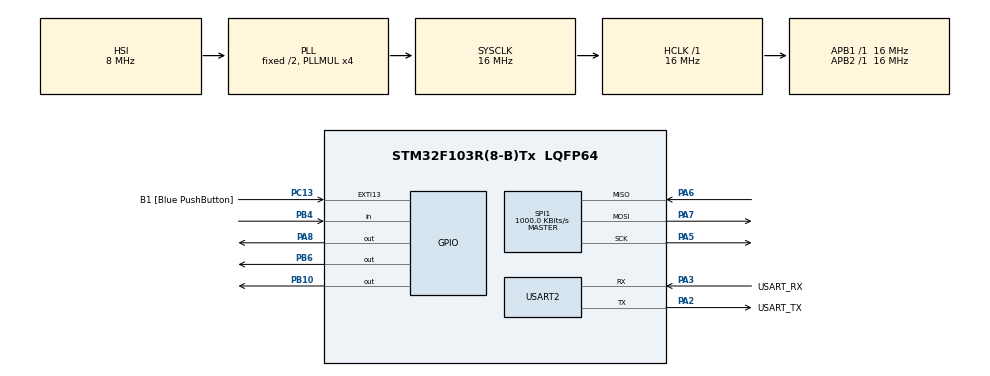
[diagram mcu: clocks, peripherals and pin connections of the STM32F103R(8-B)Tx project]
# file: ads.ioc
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Mcu.Family=STM32F1
Mcu.Name=STM32F103R(8-B)Tx
Mcu.Package=LQFP64
NVIC.EXTI15_10_IRQn=true\:0\:0\:false\:false\:true\:true\:true\:true
NVIC.PriorityGroup=NVIC_PRIORITYGROUP_4
NVIC.SPI1_IRQn=true\:0\:0\:false\:false\:true\:true\:true\:true
NVIC.USART2_IRQn=true\:0\:0\:false\:false\:true\:true\:true\:true
PA13.GPIO_Label=TMS
PA13.Mode=Serial_Wire
PA13.Signal=SYS_JTMS-SWDIO
PA14.GPIO_Label=TCK
PA14.Mode=Serial_Wire
PA14.Signal=SYS_JTCK-SWCLK
PA2.GPIO_Label=USART_TX
PA2.GPIO_Mode=GPIO_MODE_AF_PP
PA2.GPIO_PuPd=GPIO_NOPULL
PA2.GPIO_Speed=GPIO_SPEED_FREQ_LOW
PA2.Mode=Asynchronous
PA2.Signal=USART2_TX
PA3.GPIO_Label=USART_RX
PA3.GPIO_Mode=GPIO_MODE_AF_PP
PA3.GPIO_PuPd=GPIO_NOPULL
PA3.GPIO_Speed=GPIO_SPEED_FREQ_LOW
PA3.Mode=Asynchronous
PA3.Signal=USART2_RX
PA5.Mode=Full_Duplex_Master
PA5.Signal=SPI1_SCK
PA6.Mode=Full_Duplex_Master
PA6.Signal=SPI1_MISO
PA7.Mode=Full_Duplex_Master
PA7.Signal=SPI1_MOSI
PA8.Signal=GPIO_Output
PB10.Signal=GPIO_Output
PB3.GPIO_Label=SWO
PB3.Signal=SYS_JTDO-TRACESWO
PB4.Signal=GPIO_Input
PB6.Signal=GPIO_Output
PC13-TAMPER-RTC.GPIO_Label=B1 [Blue PushButton]
PC13-TAMPER-RTC.GPIO_PuPd=GPIO_NOPULL
PC13-TAMPER-RTC.Signal=GPXTI13
PC14-OSC32_IN.Mode=LSE-External-Oscillator
PC14-OSC32_IN.Signal=RCC_OSC32_IN
PC15-OSC32_OUT.Mode=LSE-External-Oscillator
PC15-OSC32_OUT.Signal=RCC_OSC32_OUT
PD0-OSC_IN.Mode=HSE-External-Clock-Source
PD0-OSC_IN.Signal=RCC_OSC_IN
PD1-OSC_OUT.Mode=HSE-External-Clock-Source
PD1-OSC_OUT.Signal=RCC_OSC_OUT
ProjectManager.HeapSize=0x200
ProjectManager.StackSize=0x400
ProjectManager.TargetToolchain=STM32CubeIDE
RCC.AHBFreq_Value=16000000
RCC.APB1Freq_Value=16000000
RCC.APB1TimFreq_Value=16000000
RCC.APB2Freq_Value=16000000
RCC.APB2TimFreq_Value=16000000
RCC.HCLKFreq_Value=16000000
RCC.PLLMUL=RCC_PLL_MUL4
RCC.RTCClockSelection=RCC_RTCCLKSOURCE_LSE
RCC.SYSCLKFreq_VALUE=16000000
RCC.SYSCLKSource=RCC_SYSCLKSOURCE_PLLCLK
RCC.USBFreq_Value=16000000
SPI1.BaudRatePrescaler=SPI_BAUDRATEPRESCALER_16
SPI1.CLKPhase=SPI_PHASE_2EDGE
SPI1.CalculateBaudRate=1000.0 KBits/s
SPI1.Direction=SPI_DIRECTION_2LINES
SPI1.Mode=SPI_MODE_MASTER
SPI1.VirtualType=VM_MASTER
USART2.VirtualMode=VM_ASYNC
board=NUCLEO-F103RB

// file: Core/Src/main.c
/* USER CODE BEGIN Header */
/**
  ******************************************************************************
  * @file           : main.c
  * @brief          : Main program body
  ******************************************************************************
  * @attention
  *
  * Copyright (c) 2024 STMicroelectronics.
  * All rights reserved.
  *
  * This software is licensed under terms that can be found in the LICENSE file
  * in the root directory of this software component.
  * If no LICENSE file comes with this software, it is provided AS-IS.
  *
  ******************************************************************************
  */
/* USER CODE END Header */
#include "main.h"

/* USER CODE BEGIN Includes */
//#define CS_Pin GPIO_PIN_6  // Example pin number, replace with your actual pin number
//#define RESET_Pin GPIO_PIN_7  // Example pin number, replace with your actual pin number
//#define DRDY_Pin GPIO_PIN_9  // Example pin number, replace with your actual pin number
/* USER CODE END Includes */

SPI_HandleTypeDef hspi1;

UART_HandleTypeDef huart2;

void SystemClock_Config(void);
static void MX_GPIO_Init(void);
static void MX_USART2_UART_Init(void);
static void MX_SPI1_Init(void);
/* USER CODE BEGIN PFP */

#define SYSTICKCLOCK 16000000ULL // System clock frequency (8MHz)
#define SYSTICKPERUS (SYSTICKCLOCK / 1000000UL) // SysTick timer counts per microsecond

//static void delay_us(unsigned delay) __attribute__((always_inline));
//
//static void __attribute__((always_inline)) delay_us(unsigned delay) {
//    uint32_t ticks = SYSTICKPERUS * delay;
//    uint32_t start_tick = SysTick->VAL;
//
//    while(SysTick->VAL - start_tick < ticks);
//}
//__attribute__((always_inline))
void delay_try(unsigned delay){
	int i=0;
	for(i=0; i<delay; i++){
		__NOP();
	}
}
uint8_t rreg_command(uint8_t buffer1, uint8_t buffer2){
	HAL_GPIO_WritePin(GPIOB, GPIO_PIN_6, GPIO_PIN_RESET);
	uint8_t device;
	  //delay_try(10);
//	uint8_t buffer1_x = 0x20 | buffer1;
//	uint8_t buffer2_x = 0x00;
	  HAL_SPI_Transmit(&hspi1, (uint8_t *)&buffer1, 1, 0x1000);   //MOSI
	  delay_try(2);//delay 4 t_clk
	  HAL_SPI_Transmit(&hspi1, (uint8_t *)&buffer2, 1, 0x1000);  //MOSI
	  delay_try(2);//delay 4 t_clk
	  HAL_SPI_Receive(&hspi1, (uint8_t *)&device, 1, 0x1000);
	  delay_try(10);
	 HAL_GPIO_WritePin(GPIOB, GPIO_PIN_6, GPIO_PIN_SET);

	return device;
}

void wrreg_command(uint8_t reg_addr, uint8_t val_hex){
   HAL_GPIO_WritePin(GPIOB, GPIO_PIN_6, GPIO_PIN_RESET);
   uint8_t adress = 0x40|reg_addr;
   uint8_t dummy1 = 0x00;
   HAL_SPI_Transmit(&hspi1, (uint8_t*)&adress, 1, 0x1000);
   HAL_SPI_Transmit(&hspi1, (uint8_t*)&dummy1, 1, 0x1000);
   HAL_SPI_Transmit(&hspi1, (uint8_t*)&val_hex, 1, 0x1000);
   delay_try(100);
   HAL_GPIO_WritePin(GPIOB, GPIO_PIN_6, GPIO_PIN_SET);
}

/* USER CODE END PFP */

/* USER CODE BEGIN 0 */

//void spi_transmit_byte(uint8_t* data, int size){
//	int i=0;
//	for(i=0; i<size; i++){
//		HAL_SPI_Transmit(&hspi1, data[i], 1, HAL_MAX_DELAY);
//		delay_us(2);
//	}
//	return;
//}
//
//uint8_t spi_transmit_receive(uint8_t* address, int size, int outp_size){
//	int i=0;
//	uint8_t data_req[outp_size];
//	for(i=0; i<size; i++){
//		HAL_SPI_Transmit(&hspi1, address[i], 1, HAL_MAX_DELAY);
//		delay_us(2);
//	}
//	HAL_SPI_Receive(&hspi1, data_req, outp_size, HAL_MAX_DELAY);
//	return data_req;
//}

/* USER CODE END 0 */

int main(void)
{
  /* USER CODE BEGIN 1 */
//	uint8_t spi_buf[2];
//	uint8_t* value[27];
  /* USER CODE END 1 */

  /* MCU Configuration--------------------------------------------------------*/

  /* Reset of all peripherals, Initializes the Flash interface and the Systick. */
    HAL_Init();

  /* Configure the system clock */
  SystemClock_Config();

  /* Initialize all configured peripherals */
  MX_GPIO_Init();
  MX_USART2_UART_Init();
  MX_SPI1_Init();
  /* USER CODE BEGIN 2 */

  	uint8_t sdatac = 0x11;
	uint8_t buf1 = 0x20;
	uint8_t start = 0x08;
	uint8_t rdatac = 0x10;
	uint8_t rdata = 0x12;
	uint8_t buffer2 = 0x00;
	uint8_t rst = 0x06;

	uint8_t config1 = 0x01;
	uint8_t config2 = 0x02;
	uint8_t config3 = 0x03;
	uint8_t loff = 0x04;
	uint8_t ch1set = 0x05;
	uint8_t ch2set = 0x06;
	uint8_t ch3set = 0x07;
	uint8_t ch4set = 0x08;
	uint8_t ch5set = 0x09;
	uint8_t ch6set = 0x0A;
	uint8_t ch7set = 0x0B;
	uint8_t ch8set = 0x0C;
	uint8_t bias_sensp = 0x0D;
	uint8_t bias_sensn = 0x0E;
	uint8_t loff_sensp = 0x0F;
	uint8_t loff_sensn = 0x10;
	uint8_t loff_flip = 0x11;
	uint8_t loff_statp = 0x12;
	uint8_t loff_statn = 0x13;
	uint8_t gpio = 0x14;
	uint8_t misc1 = 0x15;
	uint8_t misc2 = 0x16;
	uint8_t config4 = 0x17;

  delay_try(100);
///////////////////////////////////////////////////////////////////////////////////////////////////////////////////////////////////////////
  HAL_GPIO_WritePin(GPIOB, GPIO_PIN_6, GPIO_PIN_RESET);
 // HAL_GPIO_WritePin(GPIOA, GPIO_PIN_8, GPIO_PIN_SET);

  HAL_GPIO_WritePin(GPIOB, GPIO_PIN_10, GPIO_PIN_SET);
  delay_try(50);
  HAL_GPIO_WritePin(GPIOB, GPIO_PIN_6, GPIO_PIN_SET);

  delay_try(10);

  HAL_GPIO_WritePin(GPIOB, GPIO_PIN_6, GPIO_PIN_RESET);
  delay_try(4);
  HAL_SPI_Transmit(&hspi1, (uint8_t*)&rst, 1, 0x1000);
  delay_try(100);
  HAL_GPIO_WritePin(GPIOB, GPIO_PIN_6, GPIO_PIN_SET);

  HAL_GPIO_WritePin(GPIOB, GPIO_PIN_6, GPIO_PIN_RESET);
  delay_try(4);
  HAL_SPI_Transmit(&hspi1, (uint8_t *)&sdatac, 1, 0x1000);
  delay_try(100);
  HAL_GPIO_WritePin(GPIOB, GPIO_PIN_6, GPIO_PIN_SET);

  delay_try(100);
/////////////////////////////////////////////////////////////////////////////////////////////////////////////////////////////////////////////
// uint8_t dum = 0x00;

//  HAL_GPIO_WritePin(GPIOB, GPIO_PIN_6, GPIO_PIN_RESET);
//
//  delay_try(10);
//  HAL_SPI_Transmit(&hspi1, (uint8_t *)&buffer1, 1, 0x1000);   //MOSI
//  delay_try(2);//delay 4 t_clk
//  HAL_SPI_Transmit(&hspi1, (uint8_t *)&buffer2, 1, 0x1000);  //MOSI
//  delay_try(2);//delay 4 t_clk
//  HAL_SPI_Receive(&hspi1, (uint8_t *)&device, 1, 0x1000);    //MISO
//
    uint8_t buffer1;

  	buffer1 = buf1 | 0x00;
    uint8_t read_byte = rreg_command(buffer1, buffer2);
    uint8_t dev_id[] = "Device Id is : ";
    HAL_UART_Transmit(&huart2, dev_id, sizeof(dev_id) - 1, 0x1000); // -1 to exclude null terminator
    char ads[16];
    sprintf(ads, "%u\r\n", read_byte); // Dereference the pointer to get the value
    HAL_UART_Transmit(&huart2, (uint8_t *)&ads, strlen(ads), 0x1000);

    buffer1 = buf1 | config1;
    read_byte = rreg_command(buffer1, buffer2);
    uint8_t c1[] = "Config1 is : ";
    HAL_UART_Transmit(&huart2, c1, sizeof(c1) - 1, 0x1000); // -1 to exclude null terminator
    sprintf(ads, "%u\r\n", read_byte); // Dereference the pointer to get the value
    HAL_UART_Transmit(&huart2, (uint8_t *)&ads, strlen(ads), 0x1000);

    buffer1 = buf1 | config2;
    read_byte = rreg_command(buffer1, buffer2);
	uint8_t c2[] = "Config2 is : ";
	HAL_UART_Transmit(&huart2, c2, sizeof(c2) - 1, 0x1000); // -1 to exclude null terminator
	sprintf(ads, "%u\r\n", read_byte); // Dereference the pointer to get the value
	HAL_UART_Transmit(&huart2, (uint8_t *)&ads, strlen(ads), 0x1000);

	buffer1 = buf1 | config3;
	read_byte = rreg_command(buffer1, buffer2);
	uint8_t c3[] = "Config3 is : ";
	HAL_UART_Transmit(&huart2, c3, sizeof(c3) - 1, 0x1000); // -1 to exclude null terminator
	sprintf(ads, "%u\r\n", read_byte); // Dereference the pointer to get the value
	HAL_UART_Transmit(&huart2, (uint8_t *)&ads, strlen(ads), 0x1000);

	buffer1 = buf1 | loff;
	read_byte = rreg_command(buffer1, buffer2);
	uint8_t c4[] = "LOFF is : ";
	HAL_UART_Transmit(&huart2, c4, sizeof(c4) - 1, 0x1000); // -1 to exclude null terminator
	sprintf(ads, "%u\r\n", read_byte); // Dereference the pointer to get the value
	HAL_UART_Transmit(&huart2, (uint8_t *)&ads, strlen(ads), 0x1000);

	buffer1 = buf1 | ch1set;
	read_byte = rreg_command(buffer1, buffer2);
	uint8_t c5[] = "Channel 1 Register is : ";
	HAL_UART_Transmit(&huart2, c5, sizeof(c5) - 1, 0x1000); // -1 to exclude null terminator
	sprintf(ads, "%u\r\n", read_byte); // Dereference the pointer to get the value
	HAL_UART_Transmit(&huart2, (uint8_t *)&ads, strlen(ads), 0x1000);

	buffer1 = buf1 | bias_sensp;
	read_byte = rreg_command(buffer1, buffer2);
	uint8_t c6[] = "Bias_sensep is : ";
	HAL_UART_Transmit(&huart2, c6, sizeof(c6) - 1, 0x1000); // -1 to exclude null terminator
	sprintf(ads, "%u\r\n", read_byte); // Dereference the pointer to get the value
	HAL_UART_Transmit(&huart2, (uint8_t *)&ads, strlen(ads), 0x1000);

	buffer1 = buf1 | bias_sensn;
	read_byte = rreg_command(buffer1, buffer2);
	uint8_t c7[] = "Bias_sensen is : ";
	HAL_UART_Transmit(&huart2, c7, sizeof(c7) - 1, 0x1000); // -1 to exclude null terminator
	sprintf(ads, "%u\r\n", read_byte); // Dereference the pointer to get the value
	HAL_UART_Transmit(&huart2, (uint8_t *)&ads, strlen(ads), 0x1000);

	buffer1 = buf1 |loff_sensp;
	read_byte = rreg_command(buffer1, buffer2);
	uint8_t c8[] = "loff_sensep is : ";
	HAL_UART_Transmit(&huart2, c8, sizeof(c8) - 1, 0x1000); // -1 to exclude null terminator
	sprintf(ads, "%u\r\n", read_byte); // Dereference the pointer to get the value
	HAL_UART_Transmit(&huart2, (uint8_t *)&ads, strlen(ads), 0x1000);

	buffer1 = buf1 | loff_sensn;
	read_byte = rreg_command(buffer1, buffer2);
	uint8_t c9[] = "loff_sensen is : ";
	HAL_UART_Transmit(&huart2, c9, sizeof(c9) - 1, 0x1000); // -1 to exclude null terminator
	sprintf(ads, "%u\r\n", read_byte); // Dereference the pointer to get the value
	HAL_UART_Transmit(&huart2, (uint8_t *)&ads, strlen(ads), 0x1000);

	buffer1 = buf1 | loff_flip;
	read_byte = rreg_command(buffer1, buffer2);
	uint8_t c10[] = "loff_flip is : ";
	HAL_UART_Transmit(&huart2, c10, sizeof(c10) - 1, 0x1000); // -1 to exclude null terminator
	sprintf(ads, "%u\r\n", read_byte); // Dereference the pointer to get the value
	HAL_UART_Transmit(&huart2, (uint8_t *)&ads, strlen(ads), 0x1000);

	buffer1 = buf1 | loff_statp;
	read_byte = rreg_command(buffer1, buffer2);
	uint8_t c11[] = "loff_statp is : ";
	HAL_UART_Transmit(&huart2, c11, sizeof(c11) - 1, 0x1000); // -1 to exclude null terminator
	sprintf(ads, "%u\r\n", read_byte); // Dereference the pointer to get the value
	HAL_UART_Transmit(&huart2, (uint8_t *)&ads, strlen(ads), 0x1000);

	buffer1 = buf1 | loff_statn;
	read_byte = rreg_command(buffer1, buffer2);
	uint8_t c12[] = "loff_statn is : ";
	HAL_UART_Transmit(&huart2, c12, sizeof(c12) - 1, 0x1000); // -1 to exclude null terminator
	sprintf(ads, "%u\r\n", read_byte); // Dereference the pointer to get the value
	HAL_UART_Transmit(&huart2, (uint8_t *)&ads, strlen(ads), 0x1000);

	buffer1 = buf1 | gpio;
	read_byte = rreg_command(buffer1, buffer2);
	uint8_t c13[] = "gpio is : ";
	HAL_UART_Transmit(&huart2, c13, sizeof(c13) - 1, 0x1000); // -1 to exclude null terminator
	sprintf(ads, "%u\r\n", read_byte); // Dereference the pointer to get the value
	HAL_UART_Transmit(&huart2, (uint8_t *)&ads, strlen(ads), 0x1000);

	buffer1 = buf1 | misc1;
	read_byte = rreg_command(buffer1, buffer2);
	uint8_t c14[] = "misc1 is : ";
	HAL_UART_Transmit(&huart2, c14, sizeof(c14) - 1, 0x1000); // -1 to exclude null terminator
	sprintf(ads, "%u\r\n", read_byte); // Dereference the pointer to get the value
	HAL_UART_Transmit(&huart2, (uint8_t *)&ads, strlen(ads), 0x1000);

	buffer1 = buf1 | misc2;
	read_byte = rreg_command(buffer1, buffer2);
	uint8_t c15[] = "misc2 is : ";
	HAL_UART_Transmit(&huart2, c15, sizeof(c15) - 1, 0x1000); // -1 to exclude null terminator
	sprintf(ads, "%u\r\n", read_byte); // Dereference the pointer to get the value
	HAL_UART_Transmit(&huart2, (uint8_t *)&ads, strlen(ads), 0x1000);

	buffer1 = buf1 | config4;
	read_byte = rreg_command(buffer1, buffer2);
	uint8_t c16[] = "config4 is : ";
	HAL_UART_Transmit(&huart2, c16, sizeof(c16) - 1, 0x1000); // -1 to exclude null terminator
	sprintf(ads, "%u\r\n", read_byte); // Dereference the pointer to get the value
	HAL_UART_Transmit(&huart2, (uint8_t *)&ads, strlen(ads), 0x1000);

//	HAL_Delay(1000);
  delay_try(100);
///////////////////////////////////////////////////////////////////////////////////////////////////////////////////////////////////////////
	wrreg_command(config1, 0xD5); //D5
	wrreg_command(config2, 0xC0);// D1
	wrreg_command(config3, 0xEF);// E4, E0, E6
	wrreg_command(loff, 0x00);//80
	wrreg_command(ch1set, 0x00);//55
	wrreg_command(ch2set, 0x00);
	wrreg_command(ch3set, 0x00);
	wrreg_command(ch4set, 0x00);
	wrreg_command(ch5set, 0x00);
	wrreg_command(ch6set, 0x00);
	wrreg_command(ch7set, 0x00);
	wrreg_command(ch8set, 0x00);
	wrreg_command(bias_sensp, 0x00);//FF
	wrreg_command(bias_sensn, 0x00);//FF
	wrreg_command(loff_sensp, 0x00);//FF
	wrreg_command(loff_sensn, 0x00);//FF
	wrreg_command(loff_flip, 0x00);
	wrreg_command(gpio, 0x0F); //00, FF, F0
	wrreg_command(misc1, 0x20);
	wrreg_command(misc2, 0x00);
	wrreg_command(config4, 0x02); //00
///////////////////////////////////////////////////////////////////////////////////////////////////////////////////////////////////////////
//  read_byte = rreg_command(buffer1, buffer2);

		buffer1 = buf1 | 0x00;
	    read_byte = rreg_command(buffer1, buffer2);
//	    uint8_t dev_id[] = "Device Id is : ";
	    HAL_UART_Transmit(&huart2, dev_id, sizeof(dev_id) - 1, 0x1000); // -1 to exclude null terminator
//	     char ads[16];
		sprintf(ads, "%u\r\n", read_byte); // Dereference the pointer to get the value
	    HAL_UART_Transmit(&huart2, (uint8_t *)&ads, strlen(ads), 0x1000);

	    buffer1 = buf1 | config1;
	    read_byte = rreg_command(buffer1, buffer2);
//	    uint8_t c1[] = "Config1 is : ";
	    HAL_UART_Transmit(&huart2, c1, sizeof(c1) - 1, 0x1000); // -1 to exclude null terminator
		sprintf(ads, "%u\r\n", read_byte); // Dereference the pointer to get the value
	    HAL_UART_Transmit(&huart2, (uint8_t *)&ads, strlen(ads), 0x1000);

	    buffer1 = buf1 | config2;
	    read_byte = rreg_command(buffer1, buffer2);
//		uint8_t c2[] = "Config2 is : ";
		HAL_UART_Transmit(&huart2, c2, sizeof(c2) - 1, 0x1000); // -1 to exclude null terminator
		sprintf(ads, "%u\r\n", read_byte); // Dereference the pointer to get the value
		HAL_UART_Transmit(&huart2, (uint8_t *)&ads, strlen(ads), 0x1000);

		buffer1 = buf1 | config3;
		read_byte = rreg_command(buffer1, buffer2);
//		uint8_t c3[] = "Config3 is : ";
		HAL_UART_Transmit(&huart2, c3, sizeof(c3) - 1, 0x1000); // -1 to exclude null terminator
		sprintf(ads, "%u\r\n", read_byte); // Dereference the pointer to get the value
		HAL_UART_Transmit(&huart2, (uint8_t *)&ads, strlen(ads), 0x1000);

		buffer1 = buf1 | loff;
		read_byte = rreg_command(buffer1, buffer2);
//		uint8_t c4[] = "LOFF is : ";
		HAL_UART_Transmit(&huart2, c4, sizeof(c4) - 1, 0x1000); // -1 to exclude null terminator
		sprintf(ads, "%u\r\n", read_byte); // Dereference the pointer to get the value
		HAL_UART_Transmit(&huart2, (uint8_t *)&ads, strlen(ads), 0x1000);

		buffer1 = buf1 | ch1set;
		read_byte = rreg_command(buffer1, buffer2);
//		uint8_t c5[] = "Channel 1 Register is : ";
		HAL_UART_Transmit(&huart2, c5, sizeof(c5) - 1, 0x1000); // -1 to exclude null terminator
		sprintf(ads, "%u\r\n", read_byte); // Dereference the pointer to get the value
		HAL_UART_Transmit(&huart2, (uint8_t *)&ads, strlen(ads), 0x1000);

		buffer1 = buf1 | bias_sensp;
		read_byte = rreg_command(buffer1, buffer2);
//		uint8_t c6[] = "Bias_sensep is : ";
		HAL_UART_Transmit(&huart2, c6, sizeof(c6) - 1, 0x1000); // -1 to exclude null terminator
		sprintf(ads, "%u\r\n", read_byte); // Dereference the pointer to get the value
		HAL_UART_Transmit(&huart2, (uint8_t *)&ads, strlen(ads), 0x1000);

		buffer1 = buf1 | bias_sensn;
		read_byte = rreg_command(buffer1, buffer2);
//		uint8_t c7[] = "Bias_sensen is : ";
		HAL_UART_Transmit(&huart2, c7, sizeof(c7) - 1, 0x1000); // -1 to exclude null terminator
		sprintf(ads, "%u\r\n", read_byte); // Dereference the pointer to get the value
		HAL_UART_Transmit(&huart2, (uint8_t *)&ads, strlen(ads), 0x1000);

		buffer1 = buf1 |loff_sensp;
		read_byte = rreg_command(buffer1, buffer2);
//		uint8_t c8[] = "loff_sensep is : ";
		HAL_UART_Transmit(&huart2, c8, sizeof(c8) - 1, 0x1000); // -1 to exclude null terminator
		sprintf(ads, "%u\r\n", read_byte); // Dereference the pointer to get the value
		HAL_UART_Transmit(&huart2, (uint8_t *)&ads, strlen(ads), 0x1000);

		buffer1 = buf1 | loff_sensn;
		read_byte = rreg_command(buffer1, buffer2);
//		uint8_t c9[] = "loff_sensen is : ";
		HAL_UART_Transmit(&huart2, c9, sizeof(c9) - 1, 0x1000); // -1 to exclude null terminator
		sprintf(ads, "%u\r\n", read_byte); // Dereference the pointer to get the value
		HAL_UART_Transmit(&huart2, (uint8_t *)&ads, strlen(ads), 0x1000);

		buffer1 = buf1 | loff_flip;
		read_byte = rreg_command(buffer1, buffer2);
//		uint8_t c10[] = "loff_flip is : ";
		HAL_UART_Transmit(&huart2, c10, sizeof(c10) - 1, 0x1000); // -1 to exclude null terminator
		sprintf(ads, "%u\r\n", read_byte); // Dereference the pointer to get the value
		HAL_UART_Transmit(&huart2, (uint8_t *)&ads, strlen(ads), 0x1000);

		buffer1 = buf1 | loff_statp;
		read_byte = rreg_command(buffer1, buffer2);
//		uint8_t c11[] = "loff_statp is : ";
		HAL_UART_Transmit(&huart2, c11, sizeof(c11) - 1, 0x1000); // -1 to exclude null terminator
		sprintf(ads, "%u\r\n", read_byte); // Dereference the pointer to get the value
		HAL_UART_Transmit(&huart2, (uint8_t *)&ads, strlen(ads), 0x1000);

		buffer1 = buf1 | loff_statn;
		read_byte = rreg_command(buffer1, buffer2);
//		uint8_t c12[] = "loff_statn is : ";
		HAL_UART_Transmit(&huart2, c12, sizeof(c12) - 1, 0x1000); // -1 to exclude null terminator
		sprintf(ads, "%u\r\n", read_byte); // Dereference the pointer to get the value
		HAL_UART_Transmit(&huart2, (uint8_t *)&ads, strlen(ads), 0x1000);

		buffer1 = buf1 | gpio;
		read_byte = rreg_command(buffer1, buffer2);
//		uint8_t c13[] = "gpio is : ";
		HAL_UART_Transmit(&huart2, c13, sizeof(c13) - 1, 0x1000); // -1 to exclude null terminator
		sprintf(ads, "%u\r\n", read_byte); // Dereference the pointer to get the value
		HAL_UART_Transmit(&huart2, (uint8_t *)&ads, strlen(ads), 0x1000);

		buffer1 = buf1 | misc1;
		read_byte = rreg_command(buffer1, buffer2);
//		uint8_t c14[] = "misc1 is : ";
		HAL_UART_Transmit(&huart2, c14, sizeof(c14) - 1, 0x1000); // -1 to exclude null terminator
		sprintf(ads, "%u\r\n", read_byte); // Dereference the pointer to get the value
		HAL_UART_Transmit(&huart2, (uint8_t *)&ads, strlen(ads), 0x1000);

		buffer1 = buf1 | misc2;
		read_byte = rreg_command(buffer1, buffer2);
//		uint8_t c15[] = "misc2 is : ";
		HAL_UART_Transmit(&huart2, c15, sizeof(c15) - 1, 0x1000); // -1 to exclude null terminator
		sprintf(ads, "%u\r\n", read_byte); // Dereference the pointer to get the value
		HAL_UART_Transmit(&huart2, (uint8_t *)&ads, strlen(ads), 0x1000);

		buffer1 = buf1 | config4;
		read_byte = rreg_command(buffer1, buffer2);
//		uint8_t c16[] = "config4 is : ";
		HAL_UART_Transmit(&huart2, c16, sizeof(c16) - 1, 0x1000); // -1 to exclude null terminator
		sprintf(ads, "%u\r\n", read_byte); // Dereference the pointer to get the value
		HAL_UART_Transmit(&huart2, (uint8_t *)&ads, strlen(ads), 0x1000);

  delay_try(10);

//  HAL_GPIO_WritePin(GPIOA, GPIO_PIN_8, GPIO_PIN_RESET);
  delay_try(4);
  HAL_GPIO_WritePin(GPIOB, GPIO_PIN_6, GPIO_PIN_RESET);
  delay_try(4);
  HAL_GPIO_WritePin(GPIOA, GPIO_PIN_8, GPIO_PIN_SET);
//  HAL_SPI_Transmit(&hspi1, (uint8_t *)& , 1, 0x1000);
  delay_try(100);

  //send RDATAC command
//  delay_us(4);
  HAL_SPI_Transmit(&hspi1, (uint8_t *)&rdatac, 1, 0x1000);
  delay_try(4);
  //HAL_GPIO_WritePin(GPIOA, GPIO_PIN_8, GPIO_PIN_SET);

//  HAL_GPIO_WritePin(GPIOB, GPIO_PIN_6, GPIO_PIN_SET);
//  uint32_t read_dat;
//  while(1){

  uint8_t suc[] = "success";
  	uint32_t status_reg;
	uint8_t inbyte=0x00;
	status_reg = 0x00000000;
	uint32_t output[8];
	uint32_t dataPacket = 0x00000000;
	uint8_t dataByte;
//	uint8_t chan[] = "Channel:";
  while(1){
	  if(HAL_GPIO_ReadPin(GPIOB, GPIO_PIN_4) == 0){
		  //HAL_UART_Transmit(&huart2, suc, sizeof(suc) - 1, 0x1000);
		  for (int j = 0; j < 3; j++) {
			HAL_SPI_Receive(&hspi1, (uint8_t*)&inbyte, 1, 0x1000); // Pass the address of inbyte
			status_reg = (status_reg << 8) | inbyte;
		  }

		  for(int i = 0; i < 8; i++) {
			for(int j = 0; j < 3; j++) {
				HAL_SPI_Receive(&hspi1, (uint8_t*)&dataByte, 1, 0x1000); // Corrected variable name
				dataPacket = (dataPacket << 8) | dataByte;
			}
			output[i] = dataPacket;
			dataPacket = 0;
		}

//		  			char ads_data[16];
//		  			sprintf(ads_data, "%lu\r\n", status_reg);
////		  			printf("Status_reg: %s", ads_data);
//		  			HAL_UART_Transmit(&huart2, (uint8_t*)ads_data, strlen(ads_data), 0x1000);
//		  			for(int i = 0; i < 8; i++) {
//		  				HAL_UART_Transmit(&huart2, chan, sizeof(chan) - 1, 0x1000);
//
//		  				 sprintf(ads_data, "%lu\r\n", output[i]);
////		  				 printf("Channel : %s", ads_data);
//		  				 HAL_UART_Transmit(&huart2, (uint8_t*)ads_data, strlen(ads_data), 0x1000);
//
//		  			}
		  char ads_data[16];
		  	HAL_UART_Transmit(&huart2, suc, sizeof(suc) - 1, 0x1000);

		  	sprintf(ads_data, "%lu\r\n", status_reg);
		  //		  			printf("Status_reg: %s", ads_data);
		  	HAL_UART_Transmit(&huart2, (uint8_t*)ads_data, strlen(ads_data), 0x1000);
		  //	for(int i = 0; i < 8; i++) {
		  ////		HAL_UART_Transmit(&huart2, chan, sizeof(chan) - 1, 0x1000);

		  		 sprintf(ads_data, "%lu\r\n", output[4]);
		  //		  				 printf("Channel : %s", ads_data);
		  		 HAL_UART_Transmit(&huart2, (uint8_t*)ads_data, strlen(ads_data), 0x1000);

		  //	}
		  	delay_try(10000);
//		  			delay_try(1000);
//		 HAL_Delay(100);
		  		}
//	  else{
//		  continue;
//	  }
//	  char ads_data[16];
//	HAL_UART_Transmit(&huart2, suc, sizeof(suc) - 1, 0x1000);
//
//	sprintf(ads_data, "%lu\r\n", status_reg);
////		  			printf("Status_reg: %s", ads_data);
//	HAL_UART_Transmit(&huart2, (uint8_t*)ads_data, strlen(ads_data), 0x1000);
////	for(int i = 0; i < 8; i++) {
//////		HAL_UART_Transmit(&huart2, chan, sizeof(chan) - 1, 0x1000);
//
//		 sprintf(ads_data, "%lu\r\n", output[0]);
////		  				 printf("Channel : %s", ads_data);
//		 HAL_UART_Transmit(&huart2, (uint8_t*)ads_data, strlen(ads_data), 0x1000);
//
////	}
//	delay_try(10000);
  }
	  //  HAL_UART_Transmit(&huart2, channel, sizeof(channel) - 1, 0x1000); // -1 to exclude null terminator
////	    char ads_r[32*8];
////	    sprintf(ads_r, "%u\n", read_dat); // Dereference the pointer to get the value
////	    HAL_UART_Transmit(&huart2, (uint8_t *)&ads, strlen(ads), 0x1000);
//  }
  delay_try(4);

//    HAL_GPIO_WritePin(GPIOC, CS_Pin, GPIO_PIN_RESET);
//
//  HAL_GPIO_WritePin(GPIOC, RESET_Pin, GPIO_PIN_RESET);
//  delay_us(10);
//  HAL_GPIO_WritePin(GPIOC, RESET_Pin, GPIO  _PIN_SET);
//
//  delay_us(10);

//  spi_buf[0] = 0x11; //stop cont data read
//  spi_transmit_byte(*spi_buf, 1);
//  //delay
//
//  spi_buf[0] = 0x0A; //stop complete conversion
//  spi_transmit_byte(*spi_buf, 1);

  //spi_send(spi_buf[0])
  //delay

//  spi_buf[0] = 0x20; //device id
//  spi_buf[1] = 0x00;
//  *value[0] = spi_transmit_receive(*spi_buf, 2, 1); ///
//
//  HAL_UART_Transmit(&huart2, &value[0], 1, HAL_MAX_DELAY);
/*
  spi_buf[0] = 0x41; //config1
  spi_buf[1] = 0x00;
  spi_buf[2] = 0xC6;
  spi_transmit_byte(spi_buf, 3);//delay
  //spi_send
  //delay

  spi_buf[0] = 0x22; //config2, same as reset
  spi_buf[1] = 0x00;
  *value[0] = spi_transmit_receive(spi_buf, 2, 1);
   ///

  HAL_UART_Transmit(&huart2, value[0], 1, HAL_MAX_DELAY);

  //value = spi_sendreceive
  //delay

  spi_buf[0] = 0x43; //config3, same as reset
  spi_buf[1] = 0x00;
  spi_buf[2] = 0xE0;
  spi_transmit_byte(spi_buf, 3); ///

  HAL_UART_Transmit(&huart2, value[0], 1, HAL_MAX_DELAY);

  //value = spi_sendreceive
  //delay

  spi_buf[0] = 0x24; //config4, same as reset
  spi_buf[1] = 0x00;
  *value[0] = spi_transmit_receive(spi_buf, 2, 1); ///

  HAL_UART_Transmit(&huart2, value[0], 1, HAL_MAX_DELAY);

  spi_buf[0] = 0x45; //channels
  spi_buf[1] = 0x07;
  spi_buf[2] = 0x00;
  spi_transmit_byte(spi_buf, 3);

  spi_buf[0] = 0x2D; //bias - sense p, same as reset
  spi_buf[1] = 0x00;
  *value[0] = spi_transmit_receive(spi_buf, 2, 1); ///

  HAL_UART_Transmit(&huart2, value[0], 1, HAL_MAX_DELAY);

  spi_buf[0] = 0x4E; //bias, sense n, all enabled
  spi_buf[1] = 0x00;
  spi_buf[2] = 0xFF;
  spi_transmit_byte(spi_buf, 3);
  //spi_send
    //delay

  spi_buf[0] = 0x4F; //loff-sense p, all enabled
  spi_buf[1] = 0x00;
  spi_buf[2] = 0xFF;
  spi_transmit_byte(spi_buf, 3);
  //spi_send
  //delay

  spi_buf[0] = 0x30; //loff - sense n, same as reset
  spi_buf[1] = 0x00;
  *value[0] = spi_transmit_receive(spi_buf, 2, 1);

  HAL_UART_Transmit(&huart2, &value[0], 1, HAL_MAX_DELAY);

    //value = spi_sendreceive
    //delay

  spi_buf[0] = 0x31; //loff_flip, same as reset
  spi_buf[1] = 0x00;
  *value[0] = spi_transmit_receive(spi_buf, 2, 1);

  HAL_UART_Transmit(&huart2, (uint8_t *) value[0], 1, HAL_MAX_DELAY);

    //value = spi_sendreceive
    //delay

  spi_buf[0] = 0x32; //loff stat p, same as reset
  spi_buf[1] = 0x00;
  *value[0] = spi_transmit_receive(spi_buf, 2, 1);

  HAL_UART_Transmit(&huart2, (uint8_t *) value[0], 1, HAL_MAX_DELAY);

  spi_buf[0] = 0x33; //bias - sense p, same as reset
  spi_buf[1] = 0x00;
  *value[0] = spi_transmit_receive(spi_buf, 2, 1);

    HAL_UART_Transmit(&huart2, (uint8_t *) value[0], 1, HAL_MAX_DELAY);

  spi_buf[0] = 0x34; //gpio, same as reset
  spi_buf[1] = 0x00;
  *value[0] = spi_transmit_receive(spi_buf, 2, 1);

    HAL_UART_Transmit(&huart2, (uint8_t *) value[0], 1, HAL_MAX_DELAY);

  spi_buf[0] = 0x55; //misc1
  spi_buf[1] = 0x00;
  spi_buf[2] = 0x20;
  spi_transmit_byte(spi_buf, 3);
    //spi_send
    //delay

  spi_buf[0] = 0x36; //misc2
  spi_buf[1] = 0x00;
  *value[0] = spi_transmit_receive(spi_buf, 2, 1);

    HAL_UART_Transmit(&huart2, (uint8_t *) value[0], 1, HAL_MAX_DELAY);

  spi_buf[0] = 0x57; //config4
  spi_buf[1] = 0x00;
  spi_buf[2] = 0x02;
  spi_transmit_byte(spi_buf, 3);
  //spi_send
      //delay

  spi_buf[0] = 0x08; //start conversions
  spi_transmit_byte(spi_buf, 1);
  //spi_send

  spi_buf[0] = 0x10; //read data cont
  spi_transmit_byte(spi_buf, 3);
  //value = spi_sendreceive
*/
  /* USER CODE END 2 */

  /* Infinite loop */
  /* USER CODE BEGIN WHILE */

 // uint8_t spi_buffer[27];

 // while (1){
    /* USER CODE END WHILE */

    /* USER CODE BEGIN 3 */

//		HAL_SPI_Receive(&hspi1, spi_buffer, 27, HAL_MAX_DELAY);
	    /* USER CODE END WHILE */
//		int i=0;
//		for(i=0;i<27;i++){
//				HAL_UART_Transmit(&huart2, spi_buffer[i], 1, HAL_MAX_DELAY);
//				HAL_UART_Transmit(&huart2," ", 1, HAL_MAX_DELAY);
//			}
//			HAL_UART_Transmit(&huart2,"\r\n", 1, HAL_MAX_DELAY);
//  }
  /* USER CODE END 3 */
}

void SystemClock_Config(void)
{
  RCC_OscInitTypeDef RCC_OscInitStruct = {0};
  RCC_ClkInitTypeDef RCC_ClkInitStruct = {0};

  /** Initializes the RCC Oscillators according to the specified parameters
  * in the RCC_OscInitTypeDef structure.
  */
  RCC_OscInitStruct.OscillatorType = RCC_OSCILLATORTYPE_HSI;
  RCC_OscInitStruct.HSIState = RCC_HSI_ON;
  RCC_OscInitStruct.HSICalibrationValue = RCC_HSICALIBRATION_DEFAULT;
  RCC_OscInitStruct.PLL.PLLState = RCC_PLL_ON;
  RCC_OscInitStruct.PLL.PLLSource = RCC_PLLSOURCE_HSI_DIV2;
  RCC_OscInitStruct.PLL.PLLMUL = RCC_PLL_MUL4;
  if (HAL_RCC_OscConfig(&RCC_OscInitStruct) != HAL_OK)
  {
    Error_Handler();
  }

  /** Initializes the CPU, AHB and APB buses clocks
  */
  RCC_ClkInitStruct.ClockType = RCC_CLOCKTYPE_HCLK|RCC_CLOCKTYPE_SYSCLK
                              |RCC_CLOCKTYPE_PCLK1|RCC_CLOCKTYPE_PCLK2;
  RCC_ClkInitStruct.SYSCLKSource = RCC_SYSCLKSOURCE_PLLCLK;
  RCC_ClkInitStruct.AHBCLKDivider = RCC_SYSCLK_DIV1;
  RCC_ClkInitStruct.APB1CLKDivider = RCC_HCLK_DIV1;
  RCC_ClkInitStruct.APB2CLKDivider = RCC_HCLK_DIV1;

  if (HAL_RCC_ClockConfig(&RCC_ClkInitStruct, FLASH_LATENCY_0) != HAL_OK)
  {
    Error_Handler();
  }
}

static void MX_SPI1_Init(void)
{

  /* SPI1 parameter configuration*/
  hspi1.Instance = SPI1;
  hspi1.Init.Mode = SPI_MODE_MASTER;
  hspi1.Init.Direction = SPI_DIRECTION_2LINES;
  hspi1.Init.DataSize = SPI_DATASIZE_8BIT;
  hspi1.Init.CLKPolarity = SPI_POLARITY_LOW;
  hspi1.Init.CLKPhase = SPI_PHASE_2EDGE;
  hspi1.Init.NSS = SPI_NSS_SOFT;
  hspi1.Init.BaudRatePrescaler = SPI_BAUDRATEPRESCALER_16;
  hspi1.Init.FirstBit = SPI_FIRSTBIT_MSB;
  hspi1.Init.TIMode = SPI_TIMODE_DISABLE;
  hspi1.Init.CRCCalculation = SPI_CRCCALCULATION_DISABLE;
  hspi1.Init.CRCPolynomial = 10;
  if (HAL_SPI_Init(&hspi1) != HAL_OK)
  {
    Error_Handler();
  }

}

static void MX_USART2_UART_Init(void)
{

  huart2.Instance = USART2;
  huart2.Init.BaudRate = 115200;
  huart2.Init.WordLength = UART_WORDLENGTH_8B;
  huart2.Init.StopBits = UART_STOPBITS_1;
  huart2.Init.Parity = UART_PARITY_NONE;
  huart2.Init.Mode = UART_MODE_TX_RX;
  huart2.Init.HwFlowCtl = UART_HWCONTROL_NONE;
  huart2.Init.OverSampling = UART_OVERSAMPLING_16;
  if (HAL_UART_Init(&huart2) != HAL_OK)
  {
    Error_Handler();
  }

}

static void MX_GPIO_Init(void)
{
  GPIO_InitTypeDef GPIO_InitStruct = {0};

  /* GPIO Ports Clock Enable */
  __HAL_RCC_GPIOC_CLK_ENABLE();
  __HAL_RCC_GPIOD_CLK_ENABLE();
  __HAL_RCC_GPIOA_CLK_ENABLE();
  __HAL_RCC_GPIOB_CLK_ENABLE();

  /*Configure GPIO pin Output Level */
  HAL_GPIO_WritePin(GPIOB, GPIO_PIN_10|GPIO_PIN_6, GPIO_PIN_RESET);

  /*Configure GPIO pin Output Level */
  HAL_GPIO_WritePin(GPIOA, GPIO_PIN_8, GPIO_PIN_RESET);

  /*Configure GPIO pin : B1_Pin */
  GPIO_InitStruct.Pin = B1_Pin;
  GPIO_InitStruct.Mode = GPIO_MODE_IT_RISING;
  GPIO_InitStruct.Pull = GPIO_NOPULL;
  HAL_GPIO_Init(B1_GPIO_Port, &GPIO_InitStruct);

  /*Configure GPIO pins : PB10 PB6 */
  GPIO_InitStruct.Pin = GPIO_PIN_10|GPIO_PIN_6;
  GPIO_InitStruct.Mode = GPIO_MODE_OUTPUT_PP;
  GPIO_InitStruct.Pull = GPIO_NOPULL;
  GPIO_InitStruct.Speed = GPIO_SPEED_FREQ_LOW;
  HAL_GPIO_Init(GPIOB, &GPIO_InitStruct);

  /*Configure GPIO pin : PA8 */
  GPIO_InitStruct.Pin = GPIO_PIN_8;
  GPIO_InitStruct.Mode = GPIO_MODE_OUTPUT_PP;
  GPIO_InitStruct.Pull = GPIO_NOPULL;
  GPIO_InitStruct.Speed = GPIO_SPEED_FREQ_LOW;
  HAL_GPIO_Init(GPIOA, &GPIO_InitStruct);

  /*Configure GPIO pin : PB4 */
  GPIO_InitStruct.Pin = GPIO_PIN_4;
  GPIO_InitStruct.Mode = GPIO_MODE_INPUT;
  GPIO_InitStruct.Pull = GPIO_NOPULL;
  HAL_GPIO_Init(GPIOB, &GPIO_InitStruct);

  /* EXTI interrupt init*/
  HAL_NVIC_SetPriority(EXTI15_10_IRQn, 0, 0);
  HAL_NVIC_EnableIRQ(EXTI15_10_IRQn);

}

void Error_Handler(void)
{
  __disable_irq();
  while (1)
  {
  }
}
